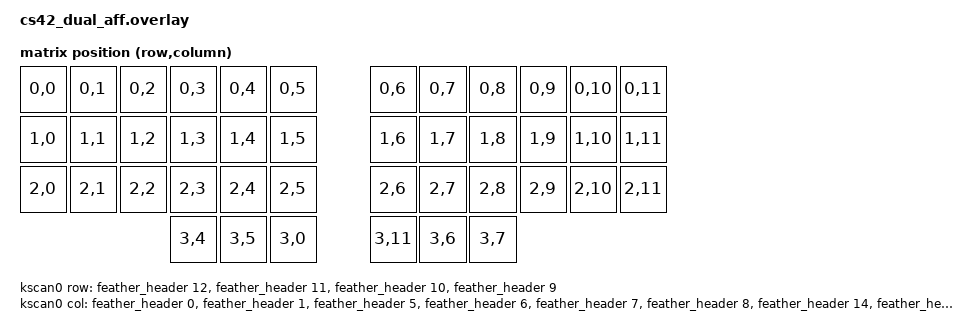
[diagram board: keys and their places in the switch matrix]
/ {
	kscan0: kscan0 {
		compatible = "zmk,kscan-gpio-matrix";
		diode-direction = "col2row";
		
		col-gpios
			= <&feather_header 0  GPIO_ACTIVE_HIGH>
			, <&feather_header 1  GPIO_ACTIVE_HIGH>
			, <&feather_header 5  GPIO_ACTIVE_HIGH>
			, <&feather_header 6  GPIO_ACTIVE_HIGH>
			, <&feather_header 7  GPIO_ACTIVE_HIGH>
			, <&feather_header 8  GPIO_ACTIVE_HIGH>
			, <&feather_header 14 GPIO_ACTIVE_HIGH>
			, <&feather_header 15 GPIO_ACTIVE_HIGH>
			, <&feather_header 16 GPIO_ACTIVE_HIGH>
			, <&feather_header 17 GPIO_ACTIVE_HIGH>
			, <&feather_header 18 GPIO_ACTIVE_HIGH>
			, <&feather_header 19 GPIO_ACTIVE_HIGH>
			;

		row-gpios
			= <&feather_header 12 (GPIO_ACTIVE_HIGH | GPIO_PULL_DOWN)>
			, <&feather_header 11 (GPIO_ACTIVE_HIGH | GPIO_PULL_DOWN)>
			, <&feather_header 10 (GPIO_ACTIVE_HIGH | GPIO_PULL_DOWN)>
			, <&feather_header 9  (GPIO_ACTIVE_HIGH | GPIO_PULL_DOWN)>
			;
	};
};

#include <dt-bindings/zmk/matrix_transform.h>

/ {
	default_transform: keymap_transform0 {
		compatible = "zmk,matrix-transform";
		columns = <12>;
		rows = <4>;
// kA1, kB1, kC1, kD1, kE1, kF1,           kG1, kH1, kI1, kJ1, kK1, kL1
// kA2, kB2, kC2, kD2, kE2, kF2,           kG2, kH2, kI2, kJ2, kK2, kL2
// kA3, kB3, kC3, kD3, kE3, kF3,           kG3, kH3, kI3, kJ3, kK3, kL3
//                     kE4, kF4, kA4, kN4, kG4, kH4,                   
		map = <
RC(0,0) RC(0,1) RC(0,2) RC(0,3) RC(0,4) RC(0,5)                  RC(0,6) RC(0,7) RC(0,8) RC(0,9) RC(0,10) RC(0,11)
RC(1,0) RC(1,1) RC(1,2) RC(1,3) RC(1,4) RC(1,5)                  RC(1,6) RC(1,7) RC(1,8) RC(1,9) RC(1,10) RC(1,11)
RC(2,0) RC(2,1) RC(2,2) RC(2,3) RC(2,4) RC(2,5)                  RC(2,6) RC(2,7) RC(2,8) RC(2,9) RC(2,10) RC(2,11)
                                RC(3,4) RC(3,5) RC(3,0) RC(3,11) RC(3,6) RC(3,7)                                    
		>;
	};
};

/ {
    physical_layout0: physical_layout_0 { // First physical layout, use different naming for other layouts
        compatible = "zmk,physical-layout";
        display-name = "Default Layout";
        kscan = <&kscan0>; // Label of the kscan node, optional if all layouts use the same
        transform = <&default_transform>; // Label of the matrix transform for this layout
    };
};

/ {
	chosen {
		zmk,kscan = &kscan0;
		zmk,matrix_transform = &default_transform;
	};
};
